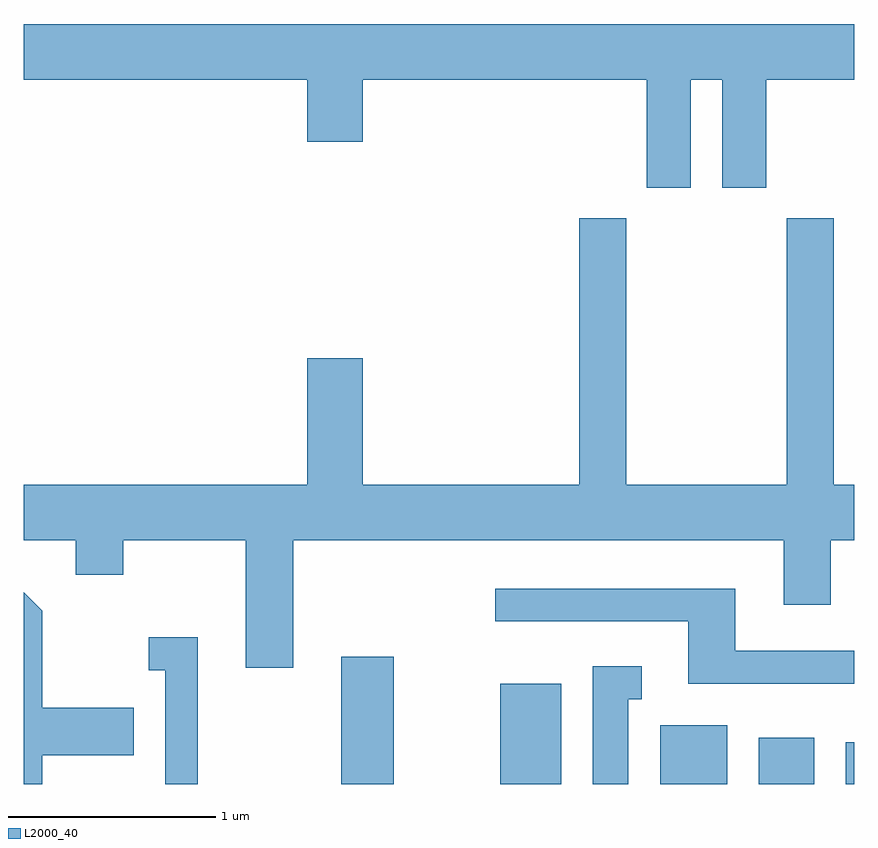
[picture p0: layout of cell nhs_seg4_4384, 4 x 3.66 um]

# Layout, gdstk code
import gdstk
lib = gdstk.Library(unit=1e-6, precision=1e-09)
def R(c, l, rs):  # rectangles x0, y0, x1, y1
    for r in rs: c.add(gdstk.rectangle(r[:2], r[2:], *l))
def P(c, l, *ps):  # polygons
    for p in ps: c.add(gdstk.Polygon(p, *l))
L2000_40 = (2000, 40)

nhs_seg4_4384 = lib.new_cell('nhs_seg4_4384')
R(nhs_seg4_4384, L2000_40, [(315.141,1317.982,315.394,1318.594), (315.906,1317.982,316.199,1318.464), (316.676,1317.982,316.999,1318.264), (317.151,1317.982,317.419,1318.204), (317.571,1317.982,317.611,1318.184)])
P(nhs_seg4_4384, L2000_40, [(316.824,1321.376),(316.976,1321.376),(316.976,1320.856),(317.189,1320.856),(317.189,1321.376),(317.611,1321.376),(317.611,1321.644),(313.611,1321.644),(313.611,1321.376),(314.976,1321.376),(314.976,1321.076),(315.244,1321.076),(315.244,1321.376),(316.611,1321.376),(316.611,1320.856),(316.824,1320.856)],
  [(314.909,1319.156),(317.271,1319.156),(317.271,1318.846),(317.499,1318.846),(317.499,1319.156),(317.611,1319.156),(317.611,1319.424),(317.514,1319.424),(317.514,1320.709),(317.286,1320.709),(317.286,1319.424),(316.514,1319.424),(316.514,1320.709),(316.286,1320.709),(316.286,1319.424),(315.244,1319.424),(315.244,1320.034),(314.976,1320.034),(314.976,1319.424),(313.611,1319.424),(313.611,1319.156),(313.861,1319.156),(313.861,1318.991),(314.089,1318.991),(314.089,1319.156),(314.681,1319.156),(314.681,1318.541),(314.909,1318.541)],
  [(317.611,1318.624),(317.039,1318.624),(317.039,1318.924),(315.883,1318.924),(315.883,1318.766),(316.811,1318.766),(316.811,1318.466),(317.611,1318.466)],
  [(313.699,1318.121),(314.139,1318.121),(314.139,1318.349),(313.699,1318.349),(313.699,1318.817),(313.611,1318.905),(313.611,1317.982),(313.699,1317.982)],
  [(314.449,1318.689),(314.213,1318.689),(314.213,1318.531),(314.291,1318.531),(314.291,1317.982),(314.449,1317.982)],
  [(316.524,1318.391),(316.588,1318.391),(316.588,1318.549),(316.351,1318.549),(316.351,1317.982),(316.524,1317.982)])

lib.write_gds('nhs_seg4_4384.gds')
